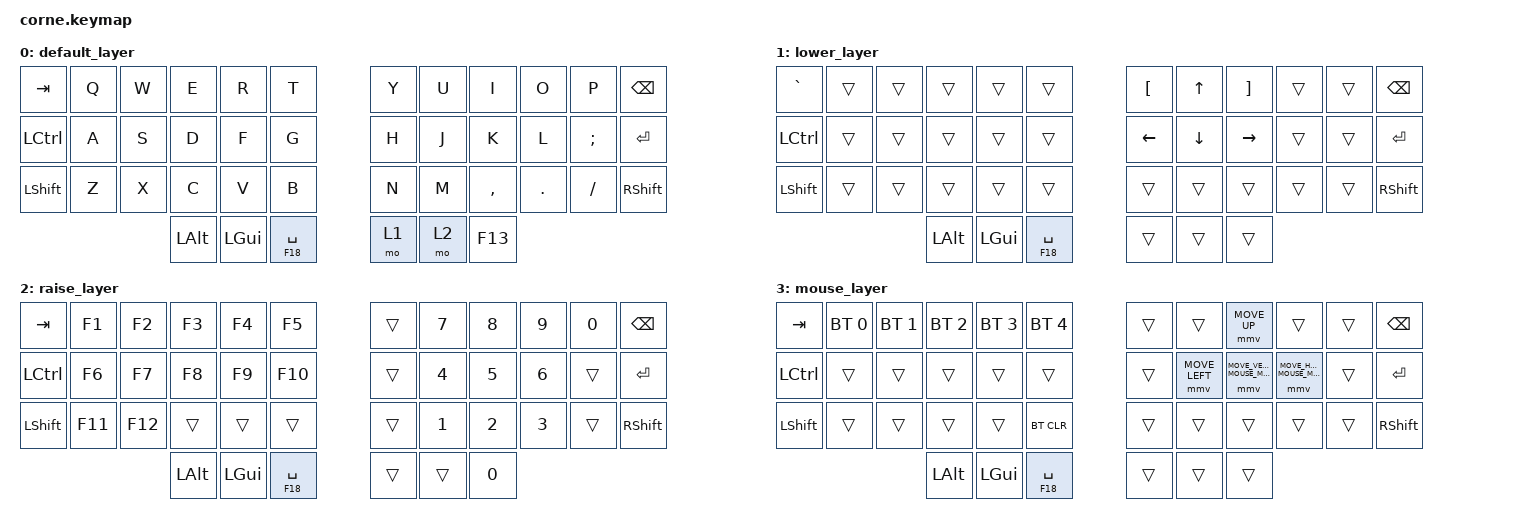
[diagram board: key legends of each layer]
/*
 * Copyright (c) 2020 The ZMK Contributors
 *
 * SPDX-License-Identifier: MIT
 */

#include <behaviors.dtsi>
#include <dt-bindings/zmk/keys.h>
#include <dt-bindings/zmk/bt.h>
#include <dt-bindings/zmk/mouse.h>

#define COMBO(NAME, BINDINGS, KEYPOS) \
  combo_##NAME { \
    timeout-ms = <50>; \
    bindings = <BINDINGS>; \
    key-positions = <KEYPOS>; \
    layers = <0>; \
  };

#define COMBO2(NAME, BINDINGS, KEYPOS) \
  combo2_##NAME { \
    timeout-ms = <50>; \
    bindings = <BINDINGS>; \
    key-positions = <KEYPOS>; \
    layers = <3>; \
  };

#define U_MOUSE_MOVE_MAX 1400
#undef MOVE_UP
#undef MOVE_DOWN
#undef MOVE_LEFT
#undef MOVE_RIGHT
#define MOVE_UP MOVE_VERT(-U_MOUSE_MOVE_MAX)
#define MOVE_DOWN MOVE_VERT(U_MOUSE_MOVE_MAX)
#define MOVE_LEFT MOVE_HOR(-U_MOUSE_MOVE_MAX)
#define MOVE_RIGHT MOVE_HOR(U_MOUSE_MOVE_MAX)

&mmv {
	time-to-max-speed-ms = <400>;
};

/ {
        behaviors {
                space_ht: space_hold_tap {
                        compatible = "zmk,behavior-hold-tap";
                        label = "SPACE_HOLD_TAP";
                        #binding-cells = <2>;
                        tapping-term-ms = <200>;
                        flavor = "balanced";
                        bindings = <&kp>, <&kp>;
                };
        };
        combos {
                compatible = "zmk,combos";

                COMBO(esc, &kp ESC, 0 12)
				COMBO(esc2, &kp ESC, 18 19)
                COMBO(lclick, &mkp LCLK, 3 4)
                COMBO(min, &kp MINUS, 8 9)
                COMBO(equal, &kp EQUAL, 9 10)
                COMBO(backslash, &kp BSLH, 10 11)
                COMBO(quot, &kp SQT, 21 22)
                COMBO(F6, &kp F6, 12 13)
                COMBO(F7, &kp F7, 13 14)
                COMBO(F8, &kp F8, 14 15)
                COMBO(F9, &kp F9, 15 16)
                COMBO(F10, &kp F10, 16 17)
                COMBO(F11, &kp F11, 24 25)
                COMBO(F12, &kp F12, 25 26)
                COMBO(mouse, &mo 3, 39 40)

                COMBO2(lclick, &mkp LCLK, 3 4)
        };

        keymap {
                compatible = "zmk,keymap";

                default_layer {
// -----------------------------------------------------------------------------------------
// |  TAB |  Q  |  W  |  E  |  R  |  T  |   |  Y  |  U   |  I  |  O  |  P  | BKSP |
// | CTRL |  A  |  S  |  D  |  F  |  G  |   |  H  |  J   |  K  |  L  |  ;  |  ENT |
// | SHFT |  Z  |  X  |  C  |  V  |  B  |   |  N  |  M   |  ,  |  .  |  /  |RSHIFT|
//                    | LALT | CMD | SPC/F18 |   | MO1 | MO2  | F13 |
                        bindings = <
   &kp TAB   &kp Q &kp W &kp E &kp R &kp T   &kp Y &kp U  &kp I     &kp O   &kp P    &kp BSPC
   &kp LCTRL &kp A &kp S &kp D &kp F &kp G   &kp H &kp J  &kp K     &kp L   &kp SEMI &kp RET
   &kp LSHFT &kp Z &kp X &kp C &kp V &kp B   &kp N &kp M  &kp COMMA &kp DOT &kp FSLH &kp RSHFT
              &kp LALT &kp LGUI &space_ht F18 SPACE      &mo 1 &mo 2 &kp F13
                        >;
                };

                lower_layer {
// -----------------------------------------------------------------------------------------
// | GRV | BT1 | BT2 | BT3 | BT4 | BT5     |   |  LBKT  |  UP  |  RBKT  |     |     | BKSP |
// | CTRL|     |     |     |     |         |   |  LFT  |  DWN  |  RGT   |     |     | ENT  | 
// | SHFT |    |     |     |     |         |   |       |       |        |     |     |RSHIFT|
//                      | LALT | CMD | SPC/F18 |   |       |       |        |
                        bindings = <
   &kp GRAVE &trans &trans &trans &trans &trans          &kp LBKT &kp UP &kp RBKT     &trans   &trans    &kp BSPC
   &kp LCTRL &trans &trans &trans &trans &trans          &kp LEFT &kp DOWN &kp RIGHT &trans &trans &kp RET
   &kp LSHFT &trans &trans &trans &trans &trans         &trans  &trans  &trans &trans &trans &kp RSHFT
                                    &kp LALT &kp LGUI &space_ht F18 SPACE     &trans  &trans  &trans
                        >;
                };

                raise_layer {
// -----------------------------------------------------------------------------------------
// |  TAB |  F1  |  F2  |  F3  |  F4  |  F5        |   |     |  7  |  8  |  9  |  0  | BKSP |
// | CTRL |  F6   |  F7   |  F8   |  F9   |  F10   |   |     |  4  |  5  |  6  |     | ENTER |
// | SHFT |  F11   |  F12   |     |     |          |   |     |  1  |  2  |  3  |     |  SHFT |
//                    | LALT | CMD | SPC/F18       |   |     |     |  0  |
                        bindings = <
   &kp  TAB  &kp F1 &kp F2 &kp F3 &kp F4 &kp F5            &trans &kp N7  &kp N8  &kp N9 &kp N0 &kp BSPC
   &kp LCTRL &kp F6 &kp F7 &kp F8 &kp F9 &kp F10           &trans &kp N4  &kp N5  &kp N6 &trans &kp RET
   &kp LSHFT &kp F11  &kp F12 &trans   &trans   &trans     &trans &kp N1  &kp N2  &kp N3 &trans &kp RSHFT
                             &kp LALT &kp LGUI &space_ht F18 SPACE   &trans   &trans    &kp N0
                        >;
                };

                mouse_layer {
// -----------------------------------------------------------------------------------------
// | TAB | BT0 | BT1 | BT2 | BT3 |   BT4   |   |       |        |   MUP  |      |      | BKSP |
// | CTRL|     |     |     |     |         |   |       |  MLFT  |  MDWN  | MRGT |      | ENT  |
// | SHFT |    |     |     |     |  BTCLR  |   |       |        |        |      |      |RSHIFT|
//                      | LALT | CMD | SPC/F18 |   |       |        |        |
                        bindings = <
   &kp TAB  &bt BT_SEL 0 &bt BT_SEL 1 &bt BT_SEL 2 &bt BT_SEL 3 &bt BT_SEL 4           &trans &trans         &mmv MOVE_UP   &trans          &trans &kp BSPC
   &kp LCTRL &trans &trans &trans &trans &trans                                        &trans &mmv MOVE_LEFT &mmv MOVE_DOWN &mmv MOVE_RIGHT &trans &kp RET
   &kp LSHFT &trans &trans &trans &trans &bt BT_CLR                                    &trans &trans         &trans         &trans          &trans &kp RSHFT
                          &kp LALT &kp LGUI &space_ht F18 SPACE                        &trans  &trans  &trans
                        >;
                };
        };
};
